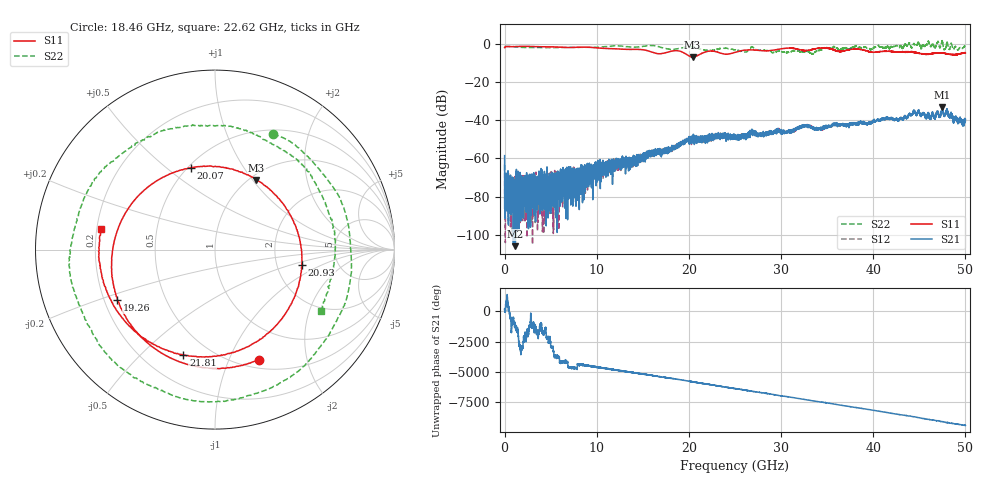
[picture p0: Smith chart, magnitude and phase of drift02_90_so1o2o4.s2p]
!Created with skrf (http://scikit-rf.org).
# Hz S RI R 50.0
!freq ReS11 ImS11 ReS21 ImS21 ReS12 ImS12 ReS22 ImS22
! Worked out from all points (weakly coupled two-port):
!   10001 points, 300 kHz to 50 GHz, reference 50 ohm
!   highest |S21| = -33.10 dB at 47.5 GHz (marker M1); lowest = -106.0 dB at 1.165 GHz (marker M2)
!   lowest |S11| = -6.9 dB at 20.4 GHz (marker M3), VSWR 2.64, Z = 53.5 + j52.1 ohm
!   |S11| at or under -10 dB: nowhere
!   |S22| runs from -5.4 to 1.8 dB; largest |S21 - S12| = 0.0029
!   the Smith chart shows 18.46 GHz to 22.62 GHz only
!   S11 on the Smith chart (normalised r, x): 18.46 GHz: 0.60, -1.29; 19.26 GHz: 0.25, -0.23; 20.07 GHz: 0.52, +0.61; 20.93 GHz: 2.77, -0.63; 21.81 GHz: 0.36, -0.68; 22.62 GHz: 0.22, +0.09
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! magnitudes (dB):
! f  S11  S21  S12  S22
! 300 kHz  -2.1  -58.6  -63.3  -1.3
! 255.3 MHz  -1.4  -73.9  -84.7  -1.4
! 1.165 GHz  -1.5  -106.0  -80.4  -1.6
! 3.65 GHz  -1.5  -77.1  -89.6  -1.9
! 4.275 GHz  -1.6  -76.2  -81.9  -2.0
! 8.335 GHz  -1.7  -66.5  -67.7  -1.9
! 16.67 GHz  -5.2  -57.1  -55.8  -1.4
! 18.46 GHz  -3.6  -54.3  -54.9  -2.8
! 19.26 GHz  -4.3  -52.2  -52.7  -2.1
! 20.07 GHz  -6.4  -49.3  -52.2  -1.5
! 20.4 GHz  -6.9  -51.7  -49.9  -1.7
! 20.93 GHz  -6.2  -50.6  -49.9  -2.2
! 21.81 GHz  -4.3  -48.2  -49.7  -3.5
! 22.62 GHz  -3.8  -48.3  -48.5  -3.4
! 25 GHz  -4.5  -48.4  -48.9  -3.2
! 26.11 GHz  -3.3  -48.4  -48.6  -4.3
! 26.9 GHz  -3.2  -46.5  -46.1  -1.6
! 33.34 GHz  -3.0  -43.8  -43.6  -5.1
! 34.89 GHz  -2.2  -43.1  -43.8  -2.2
! 41.67 GHz  -3.9  -39.0  -39.0  -2.0
! 47.5 GHz  -4.9  -33.1  -34.1  1.4
! 50 GHz  -4.8  -40.1  -40.7  -1.6
